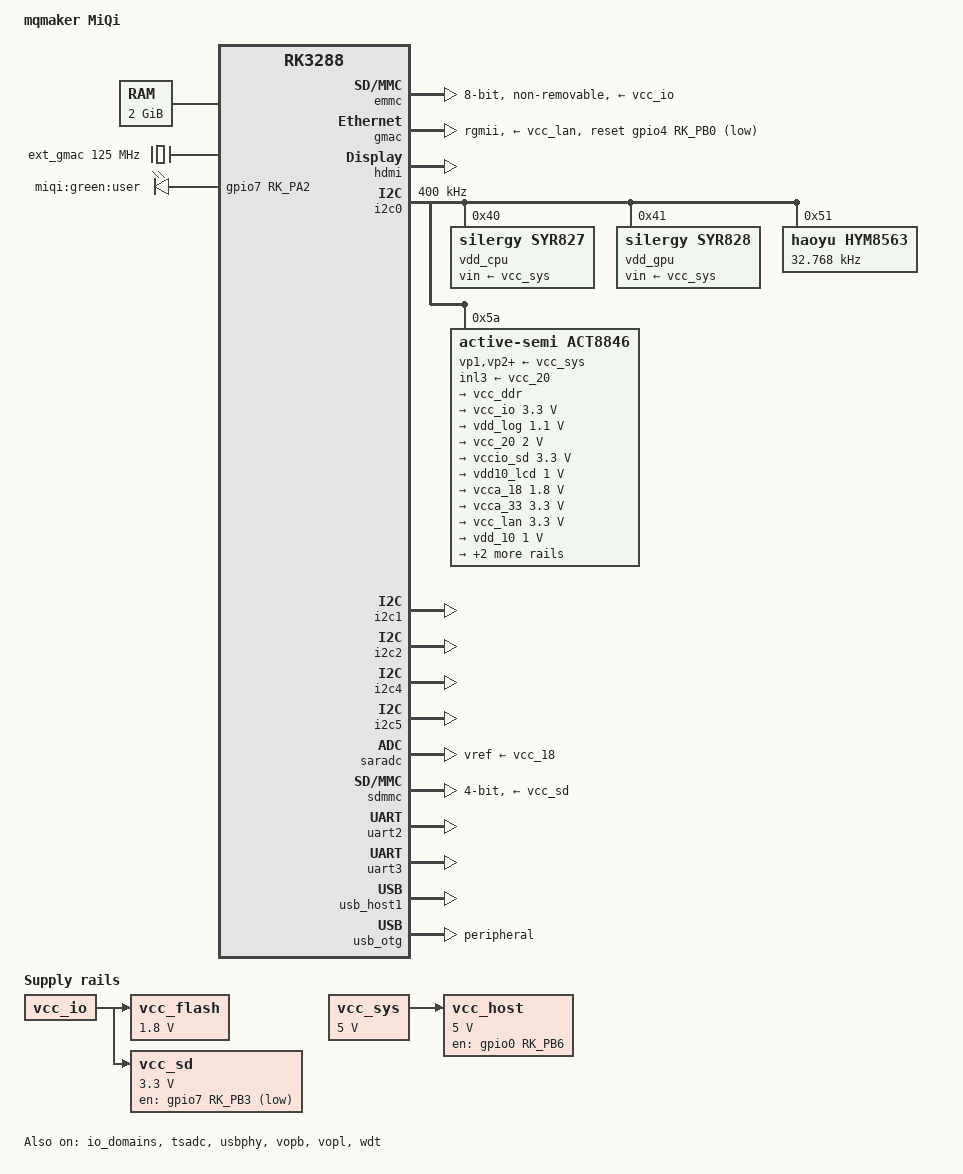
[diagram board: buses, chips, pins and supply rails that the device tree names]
// SPDX-License-Identifier: (GPL-2.0+ OR MIT)
/*
 * Copyright (c) 2016 Heiko Stuebner <heiko@sntech.de>
 */

/dts-v1/;
#include <dt-bindings/input/input.h>
#include "rk3288.dtsi"

/ {
	model = "mqmaker MiQi";
	compatible = "mqmaker,miqi", "rockchip,rk3288";

	chosen {
		stdout-path = "serial2:115200n8";
	};

	memory@0 {
		device_type = "memory";
		reg = <0x0 0x0 0x0 0x80000000>;
	};

	ext_gmac: external-gmac-clock {
		compatible = "fixed-clock";
		#clock-cells = <0>;
		clock-frequency = <125000000>;
		clock-output-names = "ext_gmac";
	};

	leds {
		compatible = "gpio-leds";

		work {
			gpios = <&gpio7 RK_PA2 GPIO_ACTIVE_HIGH>;
			label = "miqi:green:user";
			linux,default-trigger = "timer";
		};
	};

	vcc_flash: flash-regulator {
		compatible = "regulator-fixed";
		regulator-name = "vcc_flash";
		regulator-min-microvolt = <1800000>;
		regulator-max-microvolt = <1800000>;
		vin-supply = <&vcc_io>;
	};

	vcc_host: usb-host-regulator {
		compatible = "regulator-fixed";
		enable-active-high;
		gpio = <&gpio0 RK_PB6 GPIO_ACTIVE_HIGH>;
		pinctrl-names = "default";
		pinctrl-0 = <&host_vbus_drv>;
		regulator-name = "vcc_host";
		regulator-min-microvolt = <5000000>;
		regulator-max-microvolt = <5000000>;
		regulator-always-on;
		vin-supply = <&vcc_sys>;
	};

	vcc_sd: sdmmc-regulator {
		compatible = "regulator-fixed";
		gpio = <&gpio7 RK_PB3 GPIO_ACTIVE_LOW>;
		pinctrl-names = "default";
		pinctrl-0 = <&sdmmc_pwr>;
		regulator-name = "vcc_sd";
		regulator-min-microvolt = <3300000>;
		regulator-max-microvolt = <3300000>;
		startup-delay-us = <100000>;
		vin-supply = <&vcc_io>;
	};

	vcc_sys: vsys-regulator {
		compatible = "regulator-fixed";
		regulator-name = "vcc_sys";
		regulator-min-microvolt = <5000000>;
		regulator-max-microvolt = <5000000>;
		regulator-always-on;
		regulator-boot-on;
	};
};

&cpu0 {
	cpu0-supply = <&vdd_cpu>;
};

&emmc {
	bus-width = <8>;
	cap-mmc-highspeed;
	non-removable;
	pinctrl-names = "default";
	pinctrl-0 = <&emmc_clk>, <&emmc_cmd>, <&emmc_pwr>, <&emmc_bus8>;
	vmmc-supply = <&vcc_io>;
	vqmmc-supply = <&vcc_flash>;
	status = "okay";
};

&gmac {
	assigned-clocks = <&cru SCLK_MAC>;
	assigned-clock-parents = <&ext_gmac>;
	clock_in_out = "input";
	pinctrl-names = "default";
	pinctrl-0 = <&rgmii_pins>, <&phy_rst>, <&phy_pmeb>, <&phy_int>;
	phy-supply = <&vcc_lan>;
	phy-mode = "rgmii";
	snps,reset-active-low;
	snps,reset-delays-us = <0 10000 1000000>;
	snps,reset-gpio = <&gpio4 RK_PB0 GPIO_ACTIVE_LOW>;
	tx_delay = <0x30>;
	rx_delay = <0x10>;
	status = "ok";
};

&hdmi {
	ddc-i2c-bus = <&i2c5>;
	status = "okay";
};

&i2c0 {
	clock-frequency = <400000>;
	status = "okay";

	vdd_cpu: syr827@40 {
		compatible = "silergy,syr827";
		fcs,suspend-voltage-selector = <1>;
		reg = <0x40>;
		regulator-name = "vdd_cpu";
		regulator-min-microvolt = <850000>;
		regulator-max-microvolt = <1350000>;
		regulator-always-on;
		regulator-boot-on;
		regulator-enable-ramp-delay = <300>;
		regulator-ramp-delay = <8000>;
		vin-supply = <&vcc_sys>;
	};

	vdd_gpu: syr828@41 {
		compatible = "silergy,syr828";
		fcs,suspend-voltage-selector = <1>;
		reg = <0x41>;
		regulator-name = "vdd_gpu";
		regulator-min-microvolt = <850000>;
		regulator-max-microvolt = <1350000>;
		regulator-always-on;
		vin-supply = <&vcc_sys>;
	};

	hym8563: hym8563@51 {
		compatible = "haoyu,hym8563";
		reg = <0x51>;
		#clock-cells = <0>;
		clock-frequency = <32768>;
		clock-output-names = "xin32k";
	};

	act8846: act8846@5a {
		compatible = "active-semi,act8846";
		reg = <0x5a>;
		pinctrl-names = "default";
		pinctrl-0 = <&pmic_vsel>;
		system-power-controller;

		vp1-supply = <&vcc_sys>;
		vp2-supply = <&vcc_sys>;
		vp3-supply = <&vcc_sys>;
		vp4-supply = <&vcc_sys>;
		inl1-supply = <&vcc_sys>;
		inl2-supply = <&vcc_sys>;
		inl3-supply = <&vcc_20>;

		regulators {
			vcc_ddr: REG1 {
				regulator-name = "vcc_ddr";
				regulator-always-on;
			};

			vcc_io: REG2 {
				regulator-name = "vcc_io";
				regulator-min-microvolt = <3300000>;
				regulator-max-microvolt = <3300000>;
				regulator-always-on;
			};

			vdd_log: REG3 {
				regulator-name = "vdd_log";
				regulator-min-microvolt = <1100000>;
				regulator-max-microvolt = <1100000>;
				regulator-always-on;
			};

			vcc_20: REG4 {
				regulator-name = "vcc_20";
				regulator-min-microvolt = <2000000>;
				regulator-max-microvolt = <2000000>;
				regulator-always-on;
			};

			vccio_sd: REG5 {
				regulator-name = "vccio_sd";
				regulator-min-microvolt = <3300000>;
				regulator-max-microvolt = <3300000>;
				regulator-always-on;
			};

			vdd10_lcd: REG6 {
				regulator-name = "vdd10_lcd";
				regulator-min-microvolt = <1000000>;
				regulator-max-microvolt = <1000000>;
				regulator-always-on;
			};

			vcca_18: REG7 {
				regulator-name = "vcca_18";
				regulator-min-microvolt = <1800000>;
				regulator-max-microvolt = <1800000>;
			};

			vcca_33: REG8 {
				regulator-name = "vcca_33";
				regulator-min-microvolt = <3300000>;
				regulator-max-microvolt = <3300000>;
			};

			vcc_lan: REG9 {
				regulator-name = "vcc_lan";
				regulator-min-microvolt = <3300000>;
				regulator-max-microvolt = <3300000>;
			};

			vdd_10: REG10 {
				regulator-name = "vdd_10";
				regulator-min-microvolt = <1000000>;
				regulator-max-microvolt = <1000000>;
				regulator-always-on;
			};

			vcc_18: REG11 {
				regulator-name = "vcc_18";
				regulator-min-microvolt = <1800000>;
				regulator-max-microvolt = <1800000>;
				regulator-always-on;
			};

			vcc18_lcd: REG12 {
				regulator-name = "vcc18_lcd";
				regulator-min-microvolt = <1800000>;
				regulator-max-microvolt = <1800000>;
				regulator-always-on;
			};
		};
	};
};

&i2c1 {
	status = "okay";
};

&i2c2 {
	status = "okay";
};

&i2c4 {
	status = "okay";
};

&i2c5 {
	status = "okay";
};

&io_domains {
	status = "okay";

	audio-supply = <&vcca_33>;
	flash0-supply = <&vcc_flash>;
	flash1-supply = <&vcc_lan>;
	gpio30-supply = <&vcc_io>;
	gpio1830-supply = <&vcc_io>;
	lcdc-supply = <&vcc_io>;
	sdcard-supply = <&vccio_sd>;
	wifi-supply = <&vcc_18>;
};

&pinctrl {
	pcfg_output_high: pcfg-output-high {
		output-high;
	};

	pcfg_output_low: pcfg-output-low {
		output-low;
	};

	pcfg_pull_up_drv_12ma: pcfg-pull-up-drv-12ma {
		bias-pull-up;
		drive-strength = <12>;
	};

	act8846 {
		pmic_int: pmic-int {
			rockchip,pins = <0 4 RK_FUNC_GPIO &pcfg_pull_up>;
		};

		pmic_sleep: pmic-sleep {
			rockchip,pins = <0 0 RK_FUNC_GPIO &pcfg_output_low>;
		};

		pmic_vsel: pmic-vsel {
			rockchip,pins = <7 1 RK_FUNC_GPIO &pcfg_output_low>;
		};
	};

	gmac {
		phy_int: phy-int {
			rockchip,pins = <0 9 RK_FUNC_GPIO &pcfg_pull_up>;
		};

		phy_pmeb: phy-pmeb {
			rockchip,pins = <0 8 RK_FUNC_GPIO &pcfg_pull_up>;
		};

		phy_rst: phy-rst {
			rockchip,pins = <4 8 RK_FUNC_GPIO &pcfg_output_high>;
		};
	};

	sdmmc {
		/*
		 * Default drive strength isn't enough to achieve even
		 * high-speed mode on firefly board so bump up to 12ma.
		 */
		sdmmc_bus4: sdmmc-bus4 {
			rockchip,pins = <6 16 RK_FUNC_1 &pcfg_pull_up_drv_12ma>,
					<6 17 RK_FUNC_1 &pcfg_pull_up_drv_12ma>,
					<6 18 RK_FUNC_1 &pcfg_pull_up_drv_12ma>,
					<6 19 RK_FUNC_1 &pcfg_pull_up_drv_12ma>;
		};

		sdmmc_clk: sdmmc-clk {
			rockchip,pins = <6 20 RK_FUNC_1 &pcfg_pull_none_12ma>;
		};

		sdmmc_cmd: sdmmc-cmd {
			rockchip,pins = <6 21 RK_FUNC_1 &pcfg_pull_up_drv_12ma>;
		};

		sdmmc_pwr: sdmmc-pwr {
			rockchip,pins = <7 11 RK_FUNC_GPIO &pcfg_pull_none>;
		};
	};

	usb_host {
		host_vbus_drv: host-vbus-drv {
			rockchip,pins = <0 14 RK_FUNC_GPIO &pcfg_pull_none>;
		};
	};
};

&saradc {
	vref-supply = <&vcc_18>;
	status = "okay";
};

&sdmmc {
	bus-width = <4>;
	cap-mmc-highspeed;
	cap-sd-highspeed;
	card-detect-delay = <200>;
	disable-wp;
	pinctrl-names = "default";
	pinctrl-0 = <&sdmmc_clk>, <&sdmmc_cmd>, <&sdmmc_cd>, <&sdmmc_bus4>;
	vmmc-supply = <&vcc_sd>;
	vqmmc-supply = <&vccio_sd>;
	status = "okay";
};

&tsadc {
	rockchip,hw-tshut-mode = <0>;
	rockchip,hw-tshut-polarity = <0>;
	status = "okay";
};

&uart2 {
	status = "okay";
};

&uart3 {
	status = "okay";
};

&usbphy {
	status = "okay";
};

&usb_host1 {
	status = "okay";
};

&usb_otg {
	/*
	 * The otg controller is the only system power source,
	 * so needs to always stay in device mode.
	 */
	dr_mode = "peripheral";
	status = "okay";
};

&vopb {
	status = "okay";
};

&vopb_mmu {
	status = "okay";
};

&vopl {
	status = "okay";
};

&vopl_mmu {
	status = "okay";
};

&wdt {
	status = "okay";
};
